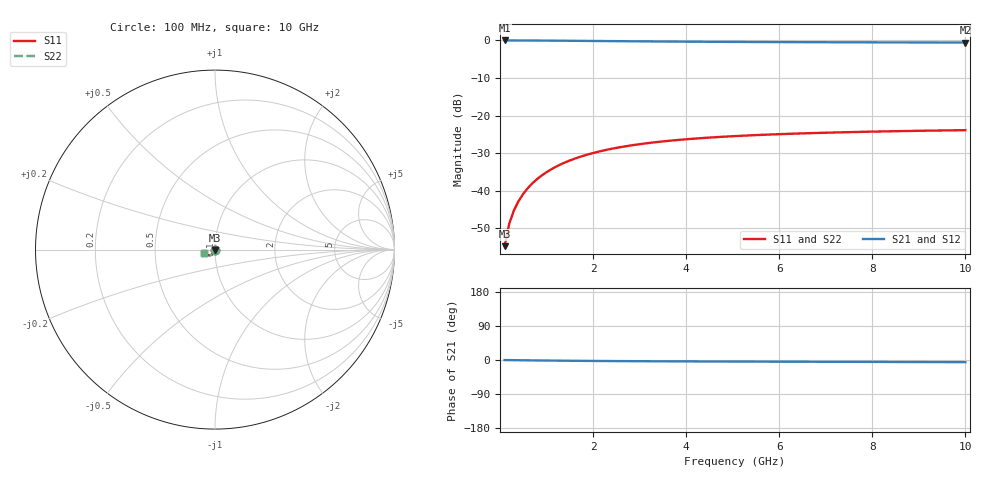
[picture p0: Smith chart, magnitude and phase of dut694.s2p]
! Touchstone file exported from HFSS 2024.1.0
!  File:  C:/UserFiles/LocalFiles/RDL_TSV_Batchsim/temp_TSV1_694_1779796447.aedt
!  Generated:  08:00:08 PM May 26, 2026
!  Design:  TSV1
!  Project:  temp_TSV1_694_1779796447
!  Setup:  Setup1
!  Solution:  Sweep
! Variables:
!  dtsv = 13.26um
!  hbump = 3um
!  htsv = 87.85um
!  lrdl = 252.1521522um
!  p = 40
!  p1 = 48.94um
!  t = 500um
!  trdl = 3um
!  wrdl = 24.89489489um
# GHz S MA R 50.000000
! Terminal data exported
! Port[1] = TSV22_T1
! Port[2] = TSV22_T2
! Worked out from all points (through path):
!   100 points, 100 MHz to 10 GHz, reference 50 ohm
!   highest |S21| = 0.00 dB at 100 MHz (marker M1); lowest = -0.6 dB at 10 GHz (marker M2)
!   lowest |S11| = -54.8 dB at 100 MHz (marker M3), VSWR 1.00, Z = 50 - j0.182 ohm
!   |S11| at or under -10 dB: start of sweep to end of sweep
!   |S22| runs from -54.8 to -23.9 dB; largest |S21 - S12| = 4.2e-15
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0.1  0.001821 -88.7  0.9998 -0.2  0.9998 -0.2  0.001821 -88.7
! Gamma 0 0 0 0
! Port Impedance 50 0 50 0
0.2  0.003639 -91.7  0.9997 -0.3  0.9997 -0.3  0.003639 -91.7
0.3  0.005456 -93.8  0.9994 -0.5  0.9994 -0.5  0.005456 -93.8
0.4  0.007264 -95.7  0.999 -0.6  0.999 -0.6  0.007264 -95.7
0.5  0.009056 -97.5  0.9985 -0.7  0.9985 -0.7  0.009056 -97.5
0.6  0.01083 -99.3  0.9979 -0.9  0.9979 -0.9  0.01083 -99.3
0.7  0.01257 -101.0  0.9973 -1.0  0.9973 -1.0  0.01257 -101.0
0.8  0.01428 -102.7  0.9966 -1.2  0.9966 -1.2  0.01428 -102.7
0.9  0.01596 -104.3  0.9958 -1.3  0.9958 -1.3  0.01596 -104.3
1.1  0.01921 -107.5  0.994 -1.6  0.994 -1.6  0.01921 -107.5
1.4  0.02377 -112.1  0.9909 -1.9  0.9909 -1.9  0.02377 -112.1
1.6  0.02658 -114.9  0.9887 -2.1  0.9887 -2.1  0.02658 -114.9
1.8  0.02922 -117.6  0.9864 -2.3  0.9864 -2.3  0.02922 -117.6
2.1  0.03283 -121.4  0.983 -2.6  0.983 -2.6  0.03283 -121.4
2.5  0.03707 -126.0  0.9784 -2.9  0.9784 -2.9  0.03707 -126.0
2.9  0.04071 -130.1  0.974 -3.1  0.974 -3.1  0.04071 -130.1
3.4  0.04454 -134.6  0.9691 -3.4  0.9691 -3.4  0.04454 -134.6
4.2  0.04937 -140.6  0.9623 -3.8  0.9623 -3.8  0.04937 -140.6
5.1  0.05342 -146.1  0.9561 -4.1  0.9561 -4.1  0.05342 -146.1
6.7  0.05835 -153.7  0.9481 -4.6  0.9481 -4.6  0.05835 -153.7
8.4  0.06172 -159.7  0.9423 -5.2  0.9423 -5.2  0.06172 -159.7
10  0.06386 -164.1  0.9385 -5.7  0.9385 -5.7  0.06386 -164.1
